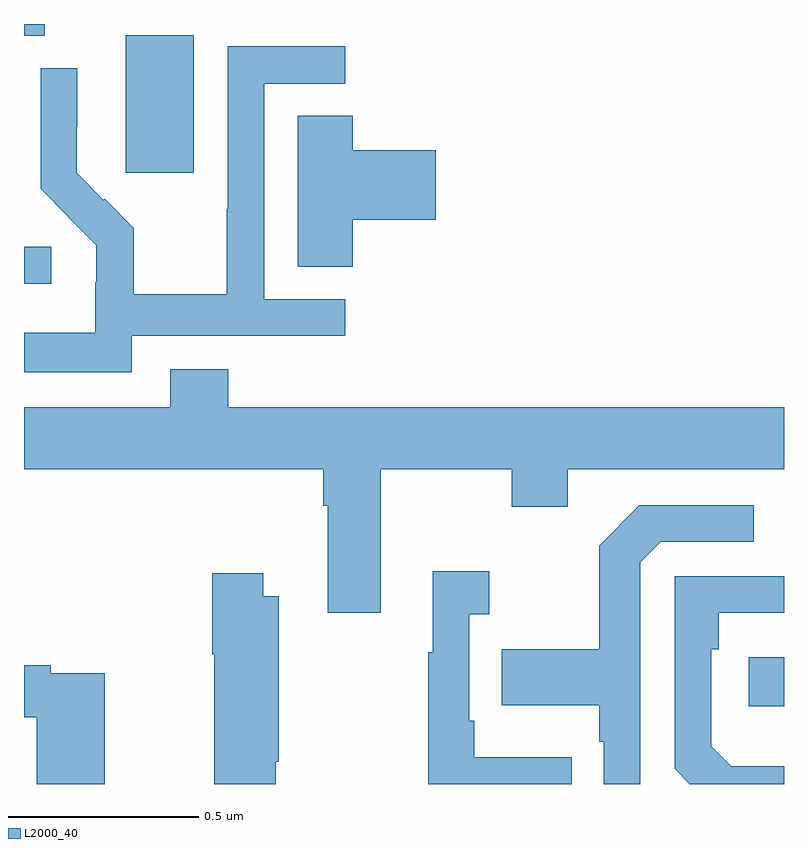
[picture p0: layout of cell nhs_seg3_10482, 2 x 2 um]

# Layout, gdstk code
import gdstk
lib = gdstk.Library(unit=1e-6, precision=1e-09)
def R(c, l, rs):  # rectangles x0, y0, x1, y1
    for r in rs: c.add(gdstk.rectangle(r[:2], r[2:], *l))
def P(c, l, *ps):  # polygons
    for p in ps: c.add(gdstk.Polygon(p, *l))
L2000_40 = (2000, 40)

nhs_seg3_10482 = lib.new_cell('nhs_seg3_10482')
R(nhs_seg3_10482, L2000_40, [(242.907,721.604,243,721.734), (241,722.717,241.072,722.814), (241.268,723.009,241.447,723.37), (241,723.369,241.054,723.4)])
P(nhs_seg3_10482, L2000_40, [(241.284,722.58),(241.846,722.58),(241.846,722.676),(241.632,722.676),(241.632,723.243),(241.846,723.243),(241.846,723.342),(241.536,723.342),(241.536,722.912),(241.534,722.912),(241.534,722.689),(241.289,722.689),(241.289,722.863),(241.212,722.94),(241.209,722.937),(241.139,723.008),(241.139,723.13),(241.14,723.13),(241.14,723.284),(241.044,723.284),(241.044,722.966),(241.117,722.893),(241.116,722.892),(241.19,722.818),(241.19,722.721),(241.188,722.721),(241.188,722.587),(241,722.587),(241,722.483),(241.284,722.483)],
  [(241.865,722.885),(242.083,722.885),(242.083,723.068),(241.865,723.068),(241.865,723.158),(241.721,723.158),(241.721,722.761),(241.865,722.761)],
  [(241.939,722.228),(242.284,722.228),(242.284,722.129),(242.431,722.129),(242.431,722.228),(243,722.228),(243,722.392),(241.538,722.392),(241.538,722.491),(241.385,722.491),(241.385,722.392),(241,722.392),(241,722.228),(241.787,722.228),(241.787,722.132),(241.799,722.132),(241.799,721.851),(241.939,721.851)],
  [(242.622,721.983),(242.676,722.037),(242.92,722.037),(242.92,722.133),(242.619,722.133),(242.514,722.027),(242.514,721.755),(242.257,721.755),(242.257,721.607),(242.514,721.607),(242.514,721.511),(242.526,721.511),(242.526,721.4),(242.622,721.4)],
  [(242.441,721.471),(242.185,721.471),(242.185,721.567),(242.172,721.567),(242.172,721.847),(242.224,721.847),(242.224,721.96),(242.075,721.96),(242.075,721.747),(242.064,721.747),(242.064,721.4),(242.441,721.4)],
  [(241.663,721.459),(241.671,721.459),(241.671,721.894),(241.63,721.894),(241.63,721.954),(241.496,721.954),(241.496,721.741),(241.501,721.741),(241.501,721.4),(241.663,721.4)],
  [(243,721.447),(242.861,721.447),(242.808,721.5),(242.808,721.754),(242.828,721.754),(242.828,721.851),(243,721.851),(243,721.947),(242.712,721.947),(242.712,721.44),(242.752,721.4),(243,721.4)],
  [(241.212,721.692),(241.07,721.692),(241.07,721.712),(241,721.712),(241,721.576),(241.034,721.576),(241.034,721.4),(241.212,721.4)])

lib.write_gds('nhs_seg3_10482.gds')
